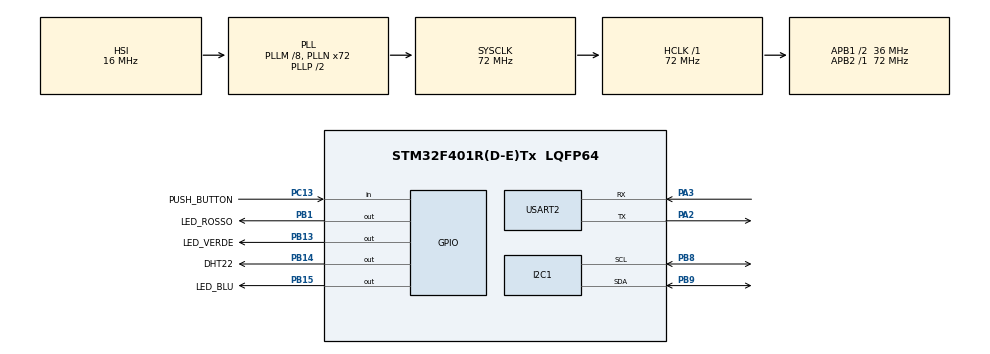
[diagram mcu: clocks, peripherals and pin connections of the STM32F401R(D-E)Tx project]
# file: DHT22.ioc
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I2C1.I2C_Mode=I2C_Fast
Mcu.Family=STM32F4
Mcu.Name=STM32F401R(D-E)Tx
Mcu.Package=LQFP64
NVIC.PriorityGroup=NVIC_PRIORITYGROUP_4
PA13.Mode=Serial_Wire
PA13.Signal=SYS_JTMS-SWDIO
PA14.Mode=Serial_Wire
PA14.Signal=SYS_JTCK-SWCLK
PA2.Mode=Asynchronous
PA2.Signal=USART2_TX
PA3.Mode=Asynchronous
PA3.Signal=USART2_RX
PB1.GPIO_Label=LED_ROSSO
PB1.Signal=GPIO_Output
PB13.GPIO_Label=LED_VERDE
PB13.Signal=GPIO_Output
PB14.GPIO_Label=DHT22
PB14.Signal=GPIO_Output
PB15.GPIO_Label=LED_BLU
PB15.Signal=GPIO_Output
PB8.Mode=I2C
PB8.Signal=I2C1_SCL
PB9.Mode=I2C
PB9.Signal=I2C1_SDA
PC13-ANTI_TAMP.GPIO_Label=PUSH_BUTTON
PC13-ANTI_TAMP.Signal=GPIO_Input
PH0\ -\ OSC_IN.Mode=HSE-External-Oscillator
PH0\ -\ OSC_IN.Signal=RCC_OSC_IN
PH1\ -\ OSC_OUT.Mode=HSE-External-Oscillator
PH1\ -\ OSC_OUT.Signal=RCC_OSC_OUT
ProjectManager.HeapSize=0x200
ProjectManager.StackSize=0x400
ProjectManager.TargetToolchain=STM32CubeIDE
RCC.48MHZClocksFreq_Value=36000000
RCC.AHBFreq_Value=72000000
RCC.APB1CLKDivider=RCC_HCLK_DIV2
RCC.APB1Freq_Value=36000000
RCC.APB1TimFreq_Value=72000000
RCC.APB2Freq_Value=72000000
RCC.APB2TimFreq_Value=72000000
RCC.CortexFreq_Value=72000000
RCC.HCLKFreq_Value=72000000
RCC.HSE_VALUE=25000000
RCC.HSI_VALUE=16000000
RCC.LSE_VALUE=32768
RCC.PLLM=8
RCC.PLLN=72
RCC.SYSCLKFreq_VALUE=72000000
RCC.SYSCLKSource=RCC_SYSCLKSOURCE_PLLCLK
RCC.VCOOutputFreq_Value=144000000
TIM1.Prescaler=71
USART2.VirtualMode=VM_ASYNC
VP_TIM1_VS_ClockSourceINT.Mode=Internal
board=custom

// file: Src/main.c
/* USER CODE BEGIN Header */
/**
  ******************************************************************************
  * @file           : main.c
  * @brief          : Main program body
  ******************************************************************************
  * @attention
  *
  * Copyright (c) 2023 STMicroelectronics.
  * All rights reserved.
  *
  * This software is licensed under terms that can be found in the LICENSE file
  * in the root directory of this software component.
  * If no LICENSE file comes with this software, it is provided AS-IS.
  *
  ******************************************************************************
  */
/* USER CODE END Header */
#include "main.h"
#include "ssd1306.h"
#include "fonts.h"
#include "BMP180.h"

I2C_HandleTypeDef hi2c1;

TIM_HandleTypeDef htim1;

UART_HandleTypeDef huart2;

void SystemClock_Config(void);
static void MX_GPIO_Init(void);
static void MX_I2C1_Init(void);
static void MX_TIM1_Init(void);
static void MX_USART2_UART_Init(void);
static void showPage(float, float, float, float, float, float);

/* USER CODE BEGIN 0 */
#define DHT22_PORT GPIOB
#define DHT22_PIN GPIO_PIN_14

uint8_t hum1, hum2, tempC1, tempC2, SUM, CHECK;
uint32_t pMillis, cMillis;
float temp_Celsius = 0;
float temp_Fahrenheit = 0;
float Humidity = 0;
uint8_t hum_integral, hum_decimal, tempC_integral, tempC_decimal, tempF_integral, tempF_decimal;
char string[15];

void microDelay (uint16_t delay)
{
  __HAL_TIM_SET_COUNTER(&htim1, 0);
  while (__HAL_TIM_GET_COUNTER(&htim1) < delay);
}

uint8_t DHT22_Start (void)
{
  uint8_t Response = 0;
  GPIO_InitTypeDef GPIO_InitStructPrivate = {0};
  GPIO_InitStructPrivate.Pin = DHT22_PIN;
  GPIO_InitStructPrivate.Mode = GPIO_MODE_OUTPUT_PP;
  GPIO_InitStructPrivate.Speed = GPIO_SPEED_FREQ_LOW;
  GPIO_InitStructPrivate.Pull = GPIO_NOPULL;
  HAL_GPIO_Init(DHT22_PORT, &GPIO_InitStructPrivate);
  HAL_GPIO_WritePin (DHT22_PORT, DHT22_PIN, 0);
  microDelay (1300);
  HAL_GPIO_WritePin (DHT22_PORT, DHT22_PIN, 1);
  microDelay (30);
  GPIO_InitStructPrivate.Mode = GPIO_MODE_INPUT;
  GPIO_InitStructPrivate.Pull = GPIO_PULLUP;
  HAL_GPIO_Init(DHT22_PORT, &GPIO_InitStructPrivate);
  microDelay (40);
  if (!(HAL_GPIO_ReadPin (DHT22_PORT, DHT22_PIN)))
  {
    microDelay (80);
    if ((HAL_GPIO_ReadPin (DHT22_PORT, DHT22_PIN))) Response = 1;
  }
  pMillis = HAL_GetTick();
  cMillis = HAL_GetTick();
  while ((HAL_GPIO_ReadPin (DHT22_PORT, DHT22_PIN)) && pMillis + 2 > cMillis)
  {
    cMillis = HAL_GetTick();
  }
  return Response;
}

uint8_t DHT22_Read (void)
{
  uint8_t x,y;
  for (x=0;x<8;x++)
  {
    pMillis = HAL_GetTick();
    cMillis = HAL_GetTick();
    while (!(HAL_GPIO_ReadPin (DHT22_PORT, DHT22_PIN)) && pMillis + 2 > cMillis)
    {
      cMillis = HAL_GetTick();
    }
    microDelay (40);
    if (!(HAL_GPIO_ReadPin (DHT22_PORT, DHT22_PIN)))   // if the pin is low
      y&= ~(1<<(7-x));
    else
      y|= (1<<(7-x));
    pMillis = HAL_GetTick();
    cMillis = HAL_GetTick();
    while ((HAL_GPIO_ReadPin (DHT22_PORT, DHT22_PIN)) && pMillis + 2 > cMillis)
    {  // wait for the pin to go low
      cMillis = HAL_GetTick();
    }
  }
  return y;
}
/* USER CODE END 0 */

uint8_t message[35] = {'\0'};

int main(void)
{

  /* MCU Configuration--------------------------------------------------------*/

  /* Reset of all peripherals, Initializes the Flash interface and the Systick. */
  HAL_Init();

  /* Configure the system clock */
  SystemClock_Config();

  /* Initialize all configured peripherals */
  MX_GPIO_Init();
  MX_I2C1_Init();
  MX_TIM1_Init();
  MX_USART2_UART_Init();
  /* USER CODE BEGIN 2 */
  HAL_TIM_Base_Start(&htim1);
  SSD1306_Init();
  BMP180_Start();

//  SSD1306_GotoXY (10,10); // goto 10, 10
//  SSD1306_Puts ("HELLO", &Font_11x18, 1); // print Hello
//  SSD1306_GotoXY (10, 30);
//  SSD1306_Puts ("WORLD !!", &Font_11x18, 1);
//  SSD1306_UpdateScreen(); // update screen

  /* USER CODE END 2 */

  /* Infinite loop */
  /* USER CODE BEGIN WHILE */
  uint8_t serial[35] = {'\0'};

  float Temperature = 0;
  float Pressure = 0;
  float Altitude = 0;

  char Temperature1[10];
  char Pressure1[10];
  char Altitude1[10];

  GPIO_PinState ButtonStateCurrent;
  GPIO_PinState ButtonStateLast = GPIO_PIN_SET;
  while (1)
    {
    /* USER CODE END WHILE */
	  if(DHT22_Start()) {
		  //Il DHT22 invia sul pin di output un totale 40 bit a blocchi di 8 bit la volta
		  //I primi due blocchi (1-16 bit) costituiscono l'umidita' relativa moltiplicato 10 (in percentuale)
		  //I successivi due blocchi (17-32 bit) costituiscono la temperatura in gradi celsius moltiplicato 10. Il primo bit (bit 17) costituisce il segno della temperatura
		  //I restanti bit costituiscono il checksum. Serve per verificare che sia stata effettuata una rilevazione consistente
		  hum1 = DHT22_Read();
		  hum2 = DHT22_Read();
		  tempC1 = DHT22_Read();
		  tempC2 = DHT22_Read();
		  SUM = DHT22_Read();
		  CHECK = hum1 + hum2 + tempC1 + tempC2;

		  if (CHECK == SUM) {
			 if (tempC1>127) // If TC1=10000000, negative temperature
			 {
			   temp_Celsius = (float)(((tempC1<<8)|tempC2)/10)*(-1);
			 }
			 else
			 {
			   temp_Celsius = (float)((tempC1<<8)|tempC2)/10;
			 }
		  }
		  Humidity = (float) ((hum1<<8)|hum2)/10; //Somma dei primi 8 bit e dei successivi 8 diviso 10

		  //Calcolo della temperatura percepita con indice Humidex
		  //float e = (6,112*10^(7,5*temp_Celsius/(237,7+temp_Celsius))*Humidity/100);
		  float e = (6.112*pow(10,7.5*temp_Celsius/(237.7+temp_Celsius))*Humidity/100);
		  float H = temp_Celsius + (double)5/9 * (e-10); //La divisione tra interi in c/c++ restituisce 0. Necessario cast a double

		  //Calcolo della temperatura percepita con heat index
		  float tF = temp_Celsius * ((double)9 / 5) + 32; //La divisione tra interi in c/c++ restituisce 0. Necessario cast a double
		  float t2 = tF * tF;
		  float u2 = Humidity * Humidity;
		  float HI = -42.379 + 2.04901523 * tF + 10.14333127 * Humidity - 0.22475541 * tF * Humidity - 6.83783e-3 * t2 - 5.481717e-2 * u2 + 1.22874e-3 * t2 * Humidity + 8.5282e-4 * tF * u2 - 1.99e-6 * t2 * u2;
		  HI = (double)5 / 9 * (HI - 32);
		  HI = floor(HI * 10) / 10;

		  if(HI<=25) {
			  if(HAL_GPIO_ReadPin(LED_VERDE_GPIO_Port, LED_VERDE_Pin) == 0) {
				  HAL_GPIO_WritePin(LED_ROSSO_GPIO_Port, LED_ROSSO_Pin, GPIO_PIN_RESET);
				  HAL_GPIO_WritePin(LED_BLU_GPIO_Port, LED_BLU_Pin, GPIO_PIN_RESET);
				  HAL_GPIO_WritePin(LED_VERDE_GPIO_Port, LED_VERDE_Pin, GPIO_PIN_SET);
			  }
		  } else if(HI>25 && HI<=30){
			  if(HAL_GPIO_ReadPin(LED_BLU_GPIO_Port, LED_BLU_Pin) == 0) {
				  HAL_GPIO_WritePin(LED_ROSSO_GPIO_Port, LED_ROSSO_Pin, GPIO_PIN_RESET);
				  HAL_GPIO_WritePin(LED_BLU_GPIO_Port, LED_BLU_Pin, GPIO_PIN_SET);
				  HAL_GPIO_WritePin(LED_VERDE_GPIO_Port, LED_VERDE_Pin, GPIO_PIN_RESET);
			  }
		  } else {
			  if(HAL_GPIO_ReadPin(LED_ROSSO_GPIO_Port, LED_ROSSO_Pin) == 0) {
				  HAL_GPIO_WritePin(LED_ROSSO_GPIO_Port, LED_ROSSO_Pin, GPIO_PIN_SET);
				  HAL_GPIO_WritePin(LED_BLU_GPIO_Port, LED_BLU_Pin, GPIO_PIN_RESET);
				  HAL_GPIO_WritePin(LED_VERDE_GPIO_Port, LED_VERDE_Pin, GPIO_PIN_RESET);
			  }
		  }
		  sprintf(serial, "T.perc.=%.2f\n", HI);
		  HAL_UART_Transmit(&huart2, serial, sizeof(serial), 100);

		  sprintf(serial, "T.misurata=%.2f\r\n", temp_Celsius);
		  HAL_UART_Transmit(&huart2, serial, sizeof(serial), 100);

		  sprintf(serial, "Umidita'=%.2f\r\n", Humidity);
		  HAL_UART_Transmit(&huart2, serial, sizeof(serial), 100);

		  Temperature = BMP180_GetTemp();
		  Pressure = BMP180_GetPress (0);
		  Altitude = BMP180_GetAlt(0);

		  showPage(HI, temp_Celsius, Humidity, Temperature, Pressure, Altitude);

		  HAL_Delay(2000);
	  }
  }
}

void showPage(float HI, float temp_Celsius, float Humidity, float Temperature, float Pressure, float Altitude) {
	sprintf(message, "T.perc.=%.2fC", HI);
	SSD1306_GotoXY (0, 0);
	SSD1306_Puts (message, &Font_7x10, 1);

	sprintf(message, "T.misurata=%.2fC", temp_Celsius);
	SSD1306_GotoXY (0, 20);
	SSD1306_Puts (message, &Font_7x10, 1);

	sprintf(message, "Umidita'=%.2f %%", Humidity);
	SSD1306_GotoXY (0, 30);
	SSD1306_Puts (message, &Font_7x10, 1);

	sprintf(message, "Press.=%.2fhPa", Pressure);
	SSD1306_GotoXY (0, 40);
	SSD1306_Puts (message, &Font_7x10, 1);

	if(Pressure<980) {
		sprintf(message, "Piogge intense. Vento forte");
		SSD1306_GotoXY (0, 50);
		SSD1306_Puts (message, &Font_7x10, 1);
	} else if(Pressure>=980 && Pressure <990) {
		sprintf(message, "Molto nuvoloso.Piogge moderate");
		SSD1306_GotoXY (0, 50);
		SSD1306_Puts (message, &Font_7x10, 1);
	}
	else if(Pressure>=990 && Pressure <1000) {
		sprintf(message, "Nuvoloso. Piogge leggere");
		SSD1306_GotoXY (0, 50);
		SSD1306_Puts (message, &Font_7x10, 1);
	} else if(Pressure>=1000 && Pressure <1013) {
		sprintf(message, "Poco nuvoloso.Tempo stabile");
		SSD1306_GotoXY (0, 50);
		SSD1306_Puts (message, &Font_7x10, 1);
	} else {
		sprintf(message, "Cielo sereno. Bel tempo");
		SSD1306_GotoXY (0, 50);
		SSD1306_Puts (message, &Font_7x10, 1);
	}

	sprintf(message, "Altitudine=%.2fm", Altitude);
	SSD1306_GotoXY (0, 50);
	SSD1306_Puts (message, &Font_7x10, 1);

	SSD1306_UpdateScreen();
}

void SystemClock_Config(void)
{
  RCC_OscInitTypeDef RCC_OscInitStruct = {0};
  RCC_ClkInitTypeDef RCC_ClkInitStruct = {0};

  /** Configure the main internal regulator output voltage
  */
  __HAL_RCC_PWR_CLK_ENABLE();
  __HAL_PWR_VOLTAGESCALING_CONFIG(PWR_REGULATOR_VOLTAGE_SCALE2);

  /** Initializes the RCC Oscillators according to the specified parameters
  * in the RCC_OscInitTypeDef structure.
  */
  RCC_OscInitStruct.OscillatorType = RCC_OSCILLATORTYPE_HSI;
  RCC_OscInitStruct.HSIState = RCC_HSI_ON;
  RCC_OscInitStruct.HSICalibrationValue = RCC_HSICALIBRATION_DEFAULT;
  RCC_OscInitStruct.PLL.PLLState = RCC_PLL_ON;
  RCC_OscInitStruct.PLL.PLLSource = RCC_PLLSOURCE_HSI;
  RCC_OscInitStruct.PLL.PLLM = 8;
  RCC_OscInitStruct.PLL.PLLN = 72;
  RCC_OscInitStruct.PLL.PLLP = RCC_PLLP_DIV2;
  RCC_OscInitStruct.PLL.PLLQ = 4;
  if (HAL_RCC_OscConfig(&RCC_OscInitStruct) != HAL_OK)
  {
    Error_Handler();
  }

  /** Initializes the CPU, AHB and APB buses clocks
  */
  RCC_ClkInitStruct.ClockType = RCC_CLOCKTYPE_HCLK|RCC_CLOCKTYPE_SYSCLK
                              |RCC_CLOCKTYPE_PCLK1|RCC_CLOCKTYPE_PCLK2;
  RCC_ClkInitStruct.SYSCLKSource = RCC_SYSCLKSOURCE_PLLCLK;
  RCC_ClkInitStruct.AHBCLKDivider = RCC_SYSCLK_DIV1;
  RCC_ClkInitStruct.APB1CLKDivider = RCC_HCLK_DIV2;
  RCC_ClkInitStruct.APB2CLKDivider = RCC_HCLK_DIV1;

  if (HAL_RCC_ClockConfig(&RCC_ClkInitStruct, FLASH_LATENCY_2) != HAL_OK)
  {
    Error_Handler();
  }
}

static void MX_I2C1_Init(void)
{

  hi2c1.Instance = I2C1;
  hi2c1.Init.ClockSpeed = 400000;
  hi2c1.Init.DutyCycle = I2C_DUTYCYCLE_2;
  hi2c1.Init.OwnAddress1 = 0;
  hi2c1.Init.AddressingMode = I2C_ADDRESSINGMODE_7BIT;
  hi2c1.Init.DualAddressMode = I2C_DUALADDRESS_DISABLE;
  hi2c1.Init.OwnAddress2 = 0;
  hi2c1.Init.GeneralCallMode = I2C_GENERALCALL_DISABLE;
  hi2c1.Init.NoStretchMode = I2C_NOSTRETCH_DISABLE;
  if (HAL_I2C_Init(&hi2c1) != HAL_OK)
  {
    Error_Handler();
  }

}

static void MX_TIM1_Init(void)
{

  TIM_ClockConfigTypeDef sClockSourceConfig = {0};
  TIM_MasterConfigTypeDef sMasterConfig = {0};

  htim1.Instance = TIM1;
  htim1.Init.Prescaler = 71;
  htim1.Init.CounterMode = TIM_COUNTERMODE_UP;
  htim1.Init.Period = 65535;
  htim1.Init.ClockDivision = TIM_CLOCKDIVISION_DIV1;
  htim1.Init.RepetitionCounter = 0;
  htim1.Init.AutoReloadPreload = TIM_AUTORELOAD_PRELOAD_DISABLE;
  if (HAL_TIM_Base_Init(&htim1) != HAL_OK)
  {
    Error_Handler();
  }
  sClockSourceConfig.ClockSource = TIM_CLOCKSOURCE_INTERNAL;
  if (HAL_TIM_ConfigClockSource(&htim1, &sClockSourceConfig) != HAL_OK)
  {
    Error_Handler();
  }
  sMasterConfig.MasterOutputTrigger = TIM_TRGO_RESET;
  sMasterConfig.MasterSlaveMode = TIM_MASTERSLAVEMODE_DISABLE;
  if (HAL_TIMEx_MasterConfigSynchronization(&htim1, &sMasterConfig) != HAL_OK)
  {
    Error_Handler();
  }

}

static void MX_USART2_UART_Init(void)
{

  huart2.Instance = USART2;
  huart2.Init.BaudRate = 115200;
  huart2.Init.WordLength = UART_WORDLENGTH_8B;
  huart2.Init.StopBits = UART_STOPBITS_1;
  huart2.Init.Parity = UART_PARITY_NONE;
  huart2.Init.Mode = UART_MODE_TX_RX;
  huart2.Init.HwFlowCtl = UART_HWCONTROL_NONE;
  huart2.Init.OverSampling = UART_OVERSAMPLING_16;
  if (HAL_UART_Init(&huart2) != HAL_OK)
  {
    Error_Handler();
  }

}

static void MX_GPIO_Init(void)
{
  GPIO_InitTypeDef GPIO_InitStruct = {0};

  /* GPIO Ports Clock Enable */
  __HAL_RCC_GPIOC_CLK_ENABLE();
  __HAL_RCC_GPIOH_CLK_ENABLE();
  __HAL_RCC_GPIOA_CLK_ENABLE();
  __HAL_RCC_GPIOB_CLK_ENABLE();

  /*Configure GPIO pin Output Level */
  HAL_GPIO_WritePin(GPIOB, LED_ROSSO_Pin|LED_VERDE_Pin|DHT22_Pin|LED_BLU_Pin, GPIO_PIN_RESET);

  /*Configure GPIO pin : PUSH_BUTTON_Pin */
  GPIO_InitStruct.Pin = PUSH_BUTTON_Pin;
  GPIO_InitStruct.Mode = GPIO_MODE_INPUT;
  GPIO_InitStruct.Pull = GPIO_NOPULL;
  HAL_GPIO_Init(PUSH_BUTTON_GPIO_Port, &GPIO_InitStruct);

  /*Configure GPIO pins : LED_ROSSO_Pin LED_VERDE_Pin DHT22_Pin LED_BLU_Pin */
  GPIO_InitStruct.Pin = LED_ROSSO_Pin|LED_VERDE_Pin|DHT22_Pin|LED_BLU_Pin;
  GPIO_InitStruct.Mode = GPIO_MODE_OUTPUT_PP;
  GPIO_InitStruct.Pull = GPIO_NOPULL;
  GPIO_InitStruct.Speed = GPIO_SPEED_FREQ_LOW;
  HAL_GPIO_Init(GPIOB, &GPIO_InitStruct);

}

void Error_Handler(void)
{
  __disable_irq();
  while (1)
  {
  }
}
